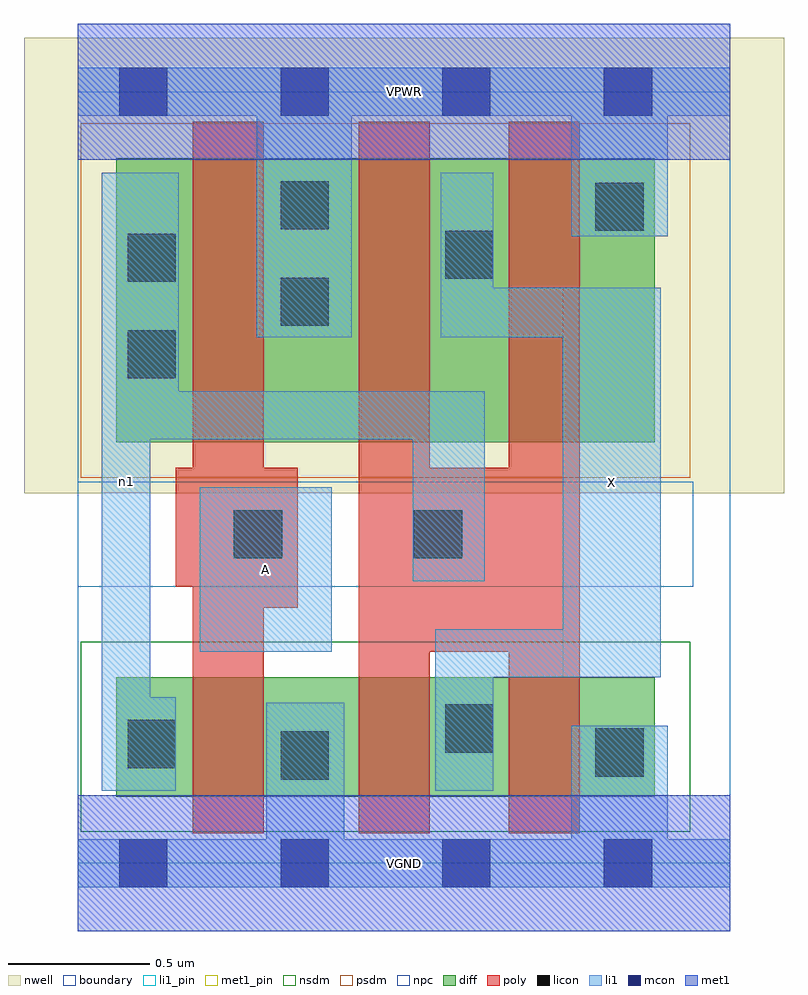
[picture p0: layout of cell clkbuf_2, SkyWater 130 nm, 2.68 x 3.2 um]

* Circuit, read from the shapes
.subckt clkbuf_2 A VGND VPWR X n1
XM1 VGND A n1 VSUBS sky130_fd_pr__nfet_01v8 w=0.42 l=0.25
XM2 X n1 VGND VSUBS sky130_fd_pr__nfet_01v8 w=0.42 l=0.25 m=2
XM3 VPWR A n1 n2 sky130_fd_pr__pfet_01v8 w=1 l=0.25
XM4 X n1 VPWR n2 sky130_fd_pr__pfet_01v8 w=1 l=0.25 m=2
.ends

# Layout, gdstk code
import gdstk
lib = gdstk.Library(unit=1e-6, precision=1e-09)
def R(c, l, rs):  # rectangles x0, y0, x1, y1
    for r in rs: c.add(gdstk.rectangle(r[:2], r[2:], *l))
def A(c, l, x, y, w, h, nx, ny, dx, dy):  # array of equal rectangles
    R(c, l, [(x+i*dx, y+j*dy, x+i*dx+w, y+j*dy+h) for i in range(nx) for j in range(ny)])
nwell = (64, 20)
diff = (65, 20)
poly = (66, 20)
licon = (66, 44)
li1_pin = (67, 16)
li1 = (67, 20)
mcon = (67, 44)
met1_pin = (68, 16)
met1 = (68, 20)
nsdm = (93, 44)
psdm = (94, 20)
npc = (95, 20)
boundary = (235, 4)

clkbuf_2 = lib.new_cell('clkbuf_2')
R(clkbuf_2, nwell, [(-0.19,1.305,2.49,2.91), (0,1.305,2.3,2.91)])
R(clkbuf_2, diff, [(0.135,0.235,2.035,0.655), (0.135,1.485,2.035,2.485)])
R(clkbuf_2, poly, [(0.405,0.105,0.655,2.615), (0.99,0.105,1.24,2.615), (1.52,0.105,1.77,2.615), (0.99,0.745,1.77,1.395), (0.405,0.9,0.775,1.395), (0.345,0.975,0.775,1.395)])
R(clkbuf_2, licon, [(0.715,0.295,0.885,0.465), (1.825,0.305,1.995,0.475), (0.175,0.335,0.345,0.505), (1.295,0.39,1.465,0.56), (0.55,1.075,0.72,1.245), (1.185,1.075,1.355,1.245), (0.175,1.71,0.345,1.88), (0.715,1.895,0.885,2.065), (0.175,2.05,0.345,2.22), (1.295,2.06,1.465,2.23), (1.825,2.23,1.995,2.4), (0.715,2.235,0.885,2.405)])
R(clkbuf_2, li1_pin, [(1.71,0.655,2.055,2.03), (0.43,0.745,0.895,1.325)])
R(clkbuf_2, li1, [(0,-0.085,2.3,0.085), (0.665,-0.085,0.94,0.565), (1.74,-0.085,2.08,0.485), (0.085,0.255,0.255,2.435), (0.085,0.255,0.345,0.585), (1.26,0.255,1.465,0.825), (1.26,0.655,2.055,0.825), (1.71,0.655,2.055,2.03), (0.43,0.745,0.895,1.325), (1.18,0.995,1.435,1.665), (0.085,1.495,1.435,1.665), (0.085,1.495,0.355,2.435), (0.63,1.855,0.965,2.805), (1.28,1.855,1.465,2.435), (1.28,1.855,2.055,2.03), (1.74,2.21,2.08,2.805), (0,2.635,2.3,2.805)])
A(clkbuf_2, mcon, 0.145, -0.085, 0.17, 0.17, 4, 2, 0.57, 2.72)
R(clkbuf_2, met1_pin, [(0,-0.24,2.3,0.24), (0,2.48,2.3,2.96)])
R(clkbuf_2, met1, [(0,-0.24,2.3,0.24), (0,2.48,2.3,2.96)])
R(clkbuf_2, nsdm, [(0.01,0.11,2.16,0.78)])
R(clkbuf_2, psdm, [(0.01,1.36,2.16,2.61)])
R(clkbuf_2, npc, [(0,0.975,2.17,1.345)])
R(clkbuf_2, boundary, [(0,0,2.3,2.72)])
clkbuf_2.add(gdstk.Label('A', (0.662,1.035), layer=67, texttype=5))
clkbuf_2.add(gdstk.Label('X', (1.882,1.342), layer=67, texttype=5))
clkbuf_2.add(gdstk.Label('n1', (0.17,1.345), layer=67, texttype=5))
clkbuf_2.add(gdstk.Label('VPWR', (1.15,2.72), layer=68, texttype=5))
clkbuf_2.add(gdstk.Label('VGND', (1.15,0), layer=68, texttype=5))
clkbuf_2.add(gdstk.Label('A', (0.662,1.035), layer=67, texttype=16))
clkbuf_2.add(gdstk.Label('X', (1.882,1.342), layer=67, texttype=16))
clkbuf_2.add(gdstk.Label('VPWR', (1.15,2.72), layer=68, texttype=16))
clkbuf_2.add(gdstk.Label('VGND', (1.15,0), layer=68, texttype=16))

lib.write_gds('clkbuf_2.gds')
